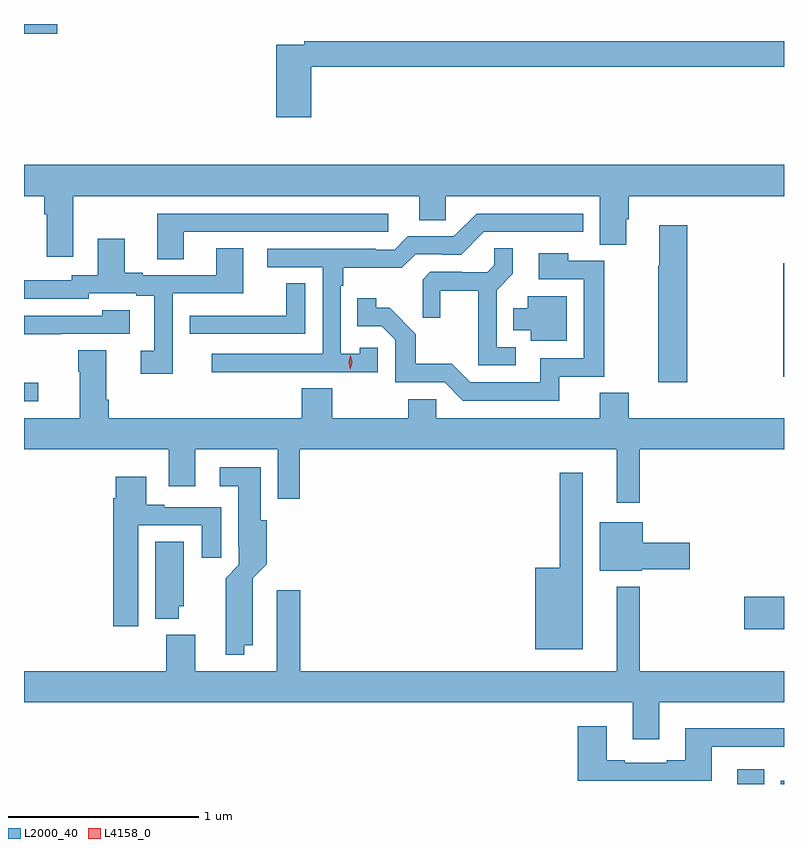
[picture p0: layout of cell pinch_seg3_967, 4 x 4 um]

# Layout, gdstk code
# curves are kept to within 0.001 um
import gdstk
lib = gdstk.Library(unit=1e-6, precision=1e-09)
def R(c, l, rs):  # rectangles x0, y0, x1, y1
    for r in rs: c.add(gdstk.rectangle(r[:2], r[2:], *l))
def P(c, l, *ps):  # polygons
    for p in ps: c.add(gdstk.Polygon(p, *l))
L2000_40 = (2000, 40)
L4158_0 = (4158, 0)

pinch_seg3_967 = lib.new_cell('pinch_seg3_967')
R(pinch_seg3_967, L2000_40, [(457.247,743.11,457.387,743.188), (457.475,743.11,457.492,743.128), (457.284,743.924,457.492,744.095), (453.492,745.125,453.568,745.221), (457.489,745.253,457.492,745.85), (453.492,747.059,453.667,747.11)])
P(pinch_seg3_967, L2000_40, [(455.003,746.884),(457.492,746.884),(457.492,747.02),(454.966,747.02),(454.966,747),(454.82,747),(454.82,746.619),(455.003,746.619)],
  [(453.751,746.204),(455.573,746.204),(455.573,746.077),(455.712,746.077),(455.712,746.204),(456.521,746.204),(456.521,745.948),(456.661,745.948),(456.661,746.082),(456.674,746.082),(456.674,746.204),(457.492,746.204),(457.492,746.368),(453.492,746.368),(453.492,746.204),(453.599,746.204),(453.599,746.108),(453.611,746.108),(453.611,745.884),(453.751,745.884)],
  [(454.871,745.278),(455.355,745.278),(455.355,745.407),(455.259,745.407),(455.259,745.375),(455.16,745.375),(455.16,745.733),(455.173,745.733),(455.173,745.826),(455.48,745.826),(455.553,745.899),(455.692,745.899),(455.692,745.896),(455.793,745.896),(455.913,746.016),(456.436,746.016),(456.436,746.112),(455.874,746.112),(455.754,745.992),(455.511,745.992),(455.442,745.923),(455.342,745.923),(455.342,745.926),(454.773,745.926),(454.773,745.83),(455.064,745.83),(455.064,745.374),(454.479,745.374),(454.479,745.276),(454.871,745.276)],
  [(454.333,746.016),(455.41,746.016),(455.41,746.112),(454.193,746.112),(454.193,745.873),(454.333,745.873)],
  [(456.983,746.05),(456.836,746.05),(456.836,745.837),(456.829,745.837),(456.829,745.224),(456.983,745.224)],
  [(454.275,745.692),(454.645,745.692),(454.645,745.931),(454.505,745.931),(454.505,745.788),(454.117,745.788),(454.117,745.801),(454.021,745.801),(454.021,745.981),(453.881,745.981),(453.881,745.788),(453.744,745.788),(453.744,745.761),(453.492,745.761),(453.492,745.665),(453.834,745.665),(453.834,745.692),(454.082,745.692),(454.082,745.68),(454.178,745.68),(454.178,745.389),(454.107,745.389),(454.107,745.269),(454.275,745.269)],
  [(456.079,745.41),(455.979,745.41),(455.979,745.709),(456.065,745.795),(456.065,745.931),(455.967,745.931),(455.967,745.84),(455.93,745.803),(455.796,745.803),(455.796,745.806),(455.631,745.806),(455.59,745.765),(455.59,745.563),(455.684,745.563),(455.684,745.706),(455.882,745.706),(455.882,745.314),(456.079,745.314)],
  [(456.308,745.254),(456.547,745.254),(456.547,745.863),(456.357,745.863),(456.357,745.903),(456.201,745.903),(456.201,745.767),(456.438,745.767),(456.438,745.35),(456.209,745.35),(456.209,745.224),(455.841,745.224),(455.743,745.323),(455.554,745.323),(455.554,745.478),(455.416,745.616),(455.346,745.616),(455.346,745.666),(455.245,745.666),(455.245,745.518),(455.376,745.518),(455.445,745.449),(455.445,745.224),(455.706,745.224),(455.802,745.128),(456.308,745.128)],
  [(454.971,745.745),(454.873,745.745),(454.873,745.575),(454.477,745.575),(454.477,745.574),(454.365,745.574),(454.365,745.479),(454.971,745.479)],
  [(456.349,745.678),(456.143,745.678),(456.143,745.615),(456.068,745.615),(456.068,745.499),(456.158,745.499),(456.158,745.442),(456.349,745.442)],
  [(453.689,745.479),(454.048,745.479),(454.048,745.603),(453.903,745.603),(453.903,745.575),(453.492,745.575),(453.492,745.477),(453.689,745.477)],
  [(456.733,744.872),(457.492,744.872),(457.492,745.036),(456.674,745.036),(456.674,745.169),(456.521,745.169),(456.521,745.036),(455.661,745.036),(455.661,745.134),(455.515,745.134),(455.515,745.036),(455.115,745.036),(455.115,745.193),(454.955,745.193),(454.955,745.036),(453.938,745.036),(453.938,745.132),(453.925,745.132),(453.925,745.393),(453.778,745.393),(453.778,745.28),(453.785,745.28),(453.785,745.036),(453.492,745.036),(453.492,744.872),(454.253,744.872),(454.253,744.678),(454.393,744.678),(454.393,744.872),(454.827,744.872),(454.827,744.612),(454.943,744.612),(454.943,744.872),(456.611,744.872),(456.611,744.591),(456.733,744.591)],
  [(454.651,743.84),(454.696,743.84),(454.697,744.194),(454.769,744.266),(454.769,744.498),(454.738,744.498),(454.738,744.778),(454.521,744.778),(454.521,744.677),(454.619,744.677),(454.619,744.358),(454.623,744.358),(454.623,744.264),(454.553,744.194),(454.554,743.789),(454.651,743.789)],
  [(456.433,744.748),(456.312,744.748),(456.312,744.247),(456.182,744.247),(456.182,743.819),(456.433,743.819)],
  [(454.093,744.471),(454.427,744.471),(454.427,744.3),(454.531,744.3),(454.531,744.567),(454.231,744.567),(454.231,744.58),(454.135,744.58),(454.135,744.727),(453.974,744.727),(453.974,744.614),(453.962,744.614),(453.962,743.94),(454.093,743.94)],
  [(456.744,744.239),(456.997,744.239),(456.997,744.381),(456.748,744.381),(456.748,744.487),(456.521,744.487),(456.521,744.233),(456.744,744.233)],
  [(454.306,744.045),(454.333,744.045),(454.333,744.386),(454.184,744.386),(454.184,743.981),(454.306,743.981)],
  [(456.835,743.54),(457.492,743.54),(457.492,743.704),(456.733,743.704),(456.733,744.148),(456.611,744.148),(456.611,743.704),(454.946,743.704),(454.946,744.13),(454.823,744.13),(454.823,743.704),(454.393,743.704),(454.393,743.896),(454.241,743.896),(454.241,743.704),(453.492,743.704),(453.492,743.54),(456.695,743.54),(456.695,743.346),(456.835,743.346)],
  [(457.111,743.307),(457.492,743.307),(457.492,743.404),(456.971,743.404),(456.971,743.236),(456.875,743.236),(456.875,743.223),(456.655,743.223),(456.655,743.236),(456.559,743.236),(456.559,743.413),(456.407,743.413),(456.407,743.126),(457.111,743.126)])
P(pinch_seg3_967, L4158_0, [(455.21,745.293),(455.21,745.293),(455.2,745.329),(455.21,745.365),(455.211,745.365),(455.211,745.365),(455.22,745.329),(455.21,745.293)])

lib.write_gds('pinch_seg3_967.gds')
